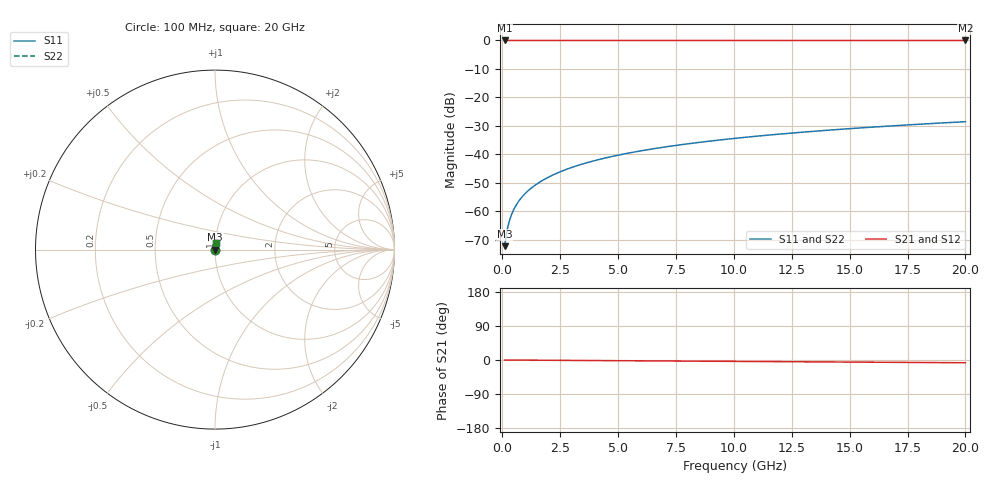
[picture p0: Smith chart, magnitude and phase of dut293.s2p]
! Touchstone file exported from HFSS 2026.1.0
!  File:  C:/ffzhzh/LocalFiles/Ansys_Project_Files/temp_train_TSV_293_1782993798_45328.aedt
!  Generated:  08:04:53 PM Jul  2, 2026
!  Design:  TSV
!  Project:  temp_train_TSV_293_1782993798_45328
! Variables:
!  h_bsmrdl = 2um
!  h_ox = 20um
!  h_rdl = 5um
!  h_sub = 63.07um
!  h_tmrdl = 5um
!  h_tsv = 63.07um
!  h_via = 3um
!  l_bsmrdl = 300um
!  l_sub = 419.92um
!  l_tmrdl = 200um
!  m_sub = 200um
!  pitch = 57.05um
!  r_tsv = 9.96um
!  s_tmrdl = 10um
!  w_bsmrdl = 18um
!  w_sub = 500um
!  w_tmrdl = 12um
!  x_tsv_center1 = 206um
!  x_tsv_center2 = 524um
!  x_tsv_center3 = 736um
!  x_tsv_center4 = 1054um
!  x_tsv_center5 = 1266um
!  x_tsv_center6 = 1584um
# GHz S MA R 50.000000
! Terminal data exported
! Port[1] = TSV1_1_T1
! Port[2] = TSV1_1_T2
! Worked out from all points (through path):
!   200 points, 100 MHz to 20 GHz, reference 50 ohm
!   highest |S21| = 0.00 dB at 100 MHz (marker M1); lowest = 0.0 dB at 20 GHz (marker M2)
!   group delay of S21, straight-line fit = 1.01 ps
!   lowest |S11| = -72.2 dB at 100 MHz (marker M3), VSWR 1.00, Z = 50 + j0.0221 ohm
!   |S11| at or under -10 dB: start of sweep to end of sweep
!   |S22| runs from -72.2 to -28.5 dB; largest |S21 - S12| = 3.2e-15
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0.1  0.000245 64.6  0.9999 -0.0  0.9999 -0.0  0.000245 64.6
! Gamma 0 0 0 0
! Port Impedance 50 0 50 0
0.2  0.0004551 75.4  0.9999 -0.1  0.9999 -0.1  0.0004551 75.4
0.3  0.0006687 78.9  0.9999 -0.1  0.9999 -0.1  0.0006687 78.9
0.4  0.0008799 80.5  0.9999 -0.2  0.9999 -0.2  0.0008799 80.5
0.5  0.001087 81.3  0.9998 -0.2  0.9998 -0.2  0.001087 81.3
0.6  0.001291 81.8  0.9998 -0.2  0.9998 -0.2  0.001291 81.8
0.7  0.001492 82.2  0.9998 -0.3  0.9998 -0.3  0.001492 82.2
0.8  0.00169 82.5  0.9998 -0.3  0.9998 -0.3  0.00169 82.5
1  0.00208 82.9  0.9998 -0.4  0.9998 -0.4  0.00208 82.9
1.4  0.002849 83.7  0.9997 -0.5  0.9997 -0.5  0.002849 83.7
1.7  0.003422 84.1  0.9997 -0.6  0.9997 -0.6  0.003422 84.1
2  0.003995 84.5  0.9997 -0.7  0.9997 -0.7  0.003995 84.5
2.7  0.005331 84.9  0.9996 -1.0  0.9996 -1.0  0.005331 84.9
3.5  0.006854 85.2  0.9995 -1.3  0.9995 -1.3  0.006854 85.2
4.2  0.008182 85.2  0.9995 -1.5  0.9995 -1.5  0.008182 85.2
5  0.009694 85.2  0.9994 -1.8  0.9994 -1.8  0.009694 85.2
6.8  0.01308 84.9  0.9993 -2.5  0.9993 -2.5  0.01308 84.9
8.3  0.01588 84.6  0.9992 -3.0  0.9992 -3.0  0.01588 84.6
10.1  0.01923 84.1  0.9991 -3.7  0.9991 -3.7  0.01923 84.1
13.4  0.02536 83.2  0.9988 -4.9  0.9988 -4.9  0.02536 83.2
16.7  0.03144 82.2  0.9986 -6.1  0.9986 -6.1  0.03144 82.2
20  0.03749 81.2  0.9983 -7.3  0.9983 -7.3  0.03749 81.2
